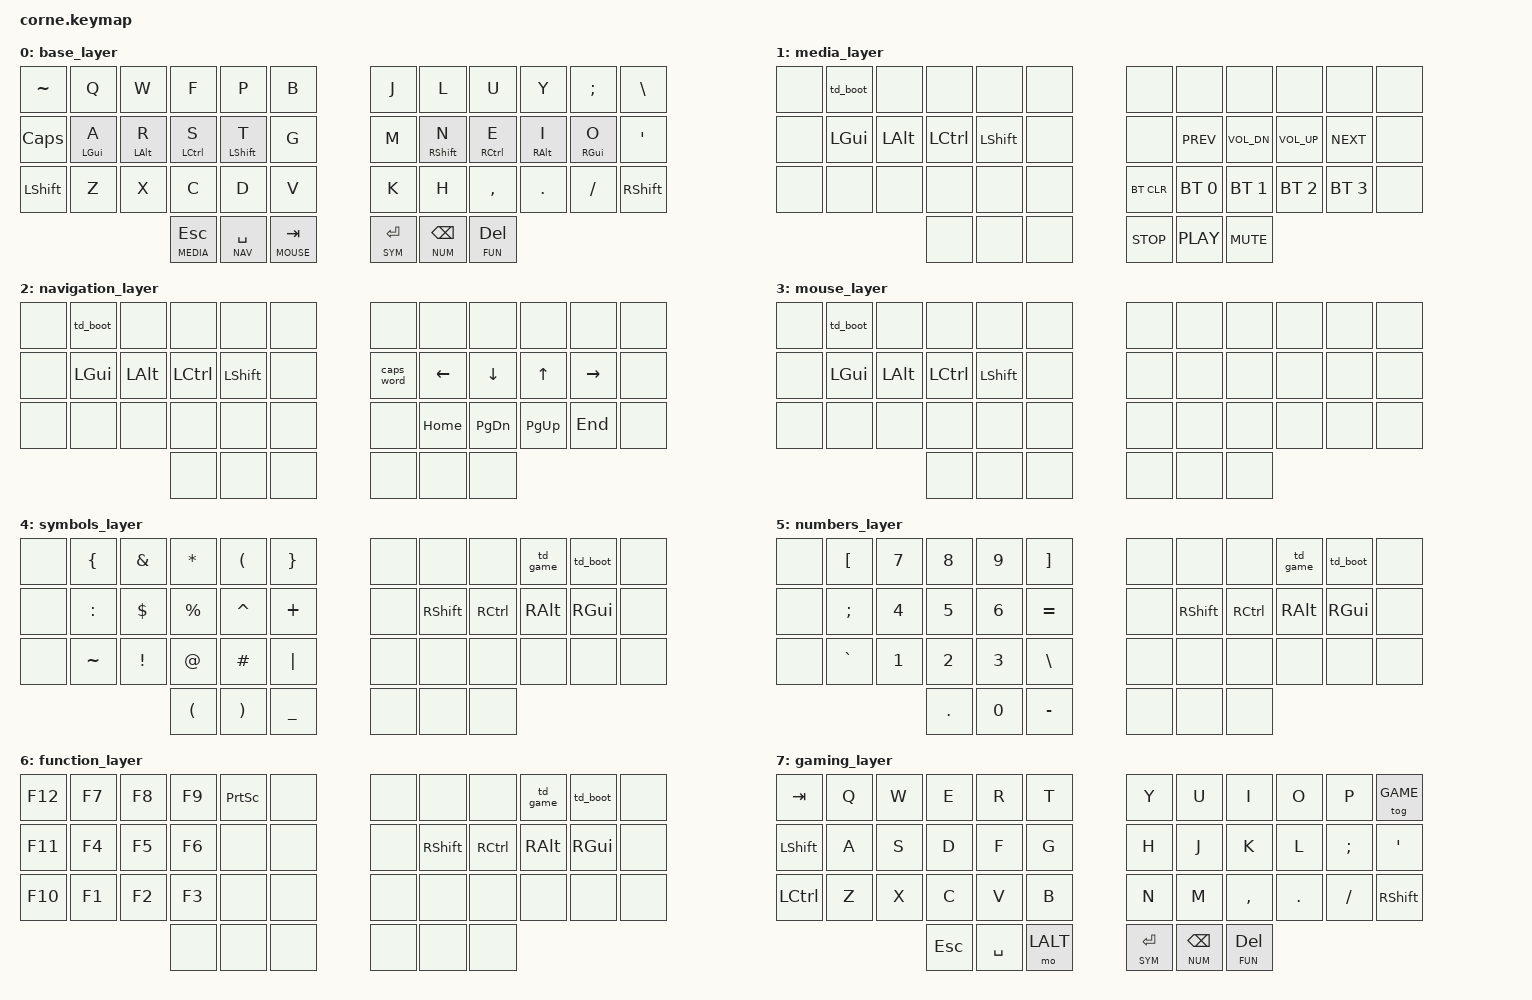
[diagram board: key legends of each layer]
/*
 * Copyright (c) 2020 The ZMK Contributors
 *
 * SPDX-License-Identifier: MIT
 */

#include <behaviors.dtsi>
#include <dt-bindings/zmk/keys.h>
#include <dt-bindings/zmk/bt.h>

#define BASE  0
#define MEDIA 1
#define NAV   2
#define MOUSE 3
#define SYM   4
#define NUM   5
#define FUN   6
#define GAME  7

&mt {
        tapping-term-ms = <150>;
        flavor = "balanced";
};
&lt {
        tapping-term-ms = <150>;
        flavor = "balanced";
};

/ {
        behaviors {
                td_boot: tap_dance_boot {
                        compatible = "zmk,behavior-tap-dance";
                        #binding-cells = <0>;
                        tapping-term-ms = <200>;
                        bindings = <&none>, <&bootloader>;
                };
                td_game: tap_dance_game {
                        compatible = "zmk,behavior-tap-dance";
                        #binding-cells = <0>;
                        tapping-term-ms = <200>;
                        bindings = <&none>, <&tog GAME>;
                };
        };

        keymap {
                compatible = "zmk,keymap";

                base_layer {
                        bindings = <
&kp TILDE  &kp Q       &kp W         &kp F         &kp P         &kp B       &kp J      &kp L        &kp U        &kp Y       &kp SEMI   &kp BSLH
&kp CAPS   &mt LGUI A  &mt LALT R    &mt LCTRL S   &mt LSHFT T   &kp G       &kp M      &mt RSHFT N  &mt RCTRL E  &mt RALT I  &mt RGUI O &kp SQT
&kp LSHFT  &kp Z       &kp X         &kp C         &kp D         &kp V       &kp K      &kp H        &kp COMMA    &kp DOT     &kp FSLH   &kp RSHFT
                       &lt MEDIA ESC &lt NAV SPACE &lt MOUSE TAB                        &lt SYM RET  &lt NUM BSPC &lt FUN DEL
                        >;
                };
                media_layer {
                        bindings = <
&none      &td_boot    &none         &none         &none         &none       &none      &none        &none        &none        &none        &none
&none      &kp LGUI    &kp LALT      &kp LCTRL     &kp LSHFT     &none       &none      &kp C_PREV   &kp C_VOL_DN &kp C_VOL_UP &kp C_NEXT   &none
&none      &none       &none         &none         &none         &none       &bt BT_CLR &bt BT_SEL 0 &bt BT_SEL 1 &bt BT_SEL 2 &bt BT_SEL 3 &none
                                     &none         &none         &none       &kp C_STOP &kp C_PLAY   &kp C_MUTE
                        >;
                };
                navigation_layer {
                        bindings = <
&none      &td_boot    &none         &none         &none         &none       &none      &none       &none        &none       &none      &none
&none      &kp LGUI    &kp LALT      &kp LCTRL     &kp LSHFT     &none       &caps_word &kp LEFT    &kp DOWN     &kp UP      &kp RIGHT  &none
&none      &none       &none         &none         &none         &none       &none      &kp HOME    &kp PG_DN    &kp PG_UP   &kp END    &none
                                     &none         &none         &none       &none      &none       &none
                        >;
                };
                // Don't really want to do mouse emulation
                mouse_layer {
                        bindings = <
&none      &td_boot    &none         &none         &none         &none       &none      &none       &none        &none       &none      &none
&none      &kp LGUI    &kp LALT      &kp LCTRL     &kp LSHFT     &none       &none      &none       &none        &none       &none      &none
&none      &none       &none         &none         &none         &none       &none      &none       &none        &none       &none      &none
                                     &none         &none         &none       &none      &none       &none
                        >;
                };
                symbols_layer {
                        bindings = <
&none      &kp LBRC    &kp AMPS      &kp ASTRK     &kp LPAR      &kp RBRC    &none      &none       &none        &td_game    &td_boot   &none
&none      &kp COLON   &kp DLLR      &kp PRCNT     &kp CARET     &kp PLUS    &none      &kp RSHFT   &kp RCTRL    &kp RALT    &kp RGUI   &none
&none      &kp TILDE   &kp EXCL      &kp AT        &kp POUND     &kp PIPE    &none      &none       &none        &none       &none      &none
                                     &kp LPAR      &kp RPAR      &kp UNDER   &none      &none       &none
                        >;
                };
                numbers_layer {
                        bindings = <
&none      &kp LBKT    &kp N7        &kp N8        &kp N9        &kp RBKT    &none      &none       &none        &td_game    &td_boot   &none
&none      &kp SEMI    &kp N4        &kp N5        &kp N6        &kp EQUAL   &none      &kp RSHFT   &kp RCTRL    &kp RALT    &kp RGUI   &none
&none      &kp GRAVE   &kp N1        &kp N2        &kp N3        &kp BSLH    &none      &none       &none        &none       &none      &none
                                     &kp DOT       &kp N0        &kp MINUS   &none      &none       &none
                        >;
                };
                function_layer {
                        bindings = <
&kp F12    &kp F7      &kp F8        &kp F9        &kp PSCRN     &none       &none      &none       &none        &td_game    &td_boot   &none
&kp F11    &kp F4      &kp F5        &kp F6        &none         &none       &none      &kp RSHFT   &kp RCTRL    &kp RALT    &kp RGUI   &none
&kp F10    &kp F1      &kp F2        &kp F3        &none         &none       &none      &none       &none        &none       &none      &none
                                     &none         &none         &none       &none      &none       &none
                        >;
                };
                gaming_layer {
                        bindings = <
&kp TAB    &kp Q       &kp W         &kp E         &kp R         &kp T       &kp Y        &kp U        &kp I        &kp O       &kp P      &tog GAME
&kp LSHFT  &kp A       &kp S         &kp D         &kp F         &kp G       &kp H        &kp J        &kp K        &kp L       &kp SEMI   &kp SQT
&kp LCTRL  &kp Z       &kp X         &kp C         &kp V         &kp B       &kp N        &kp M        &kp COMMA    &kp DOT     &kp FSLH   &kp RSHFT
                                     &kp ESC       &kp SPACE     &mo LALT    &lt SYM RET  &lt NUM BSPC &lt FUN DEL
                        >;
                };
        };
};
